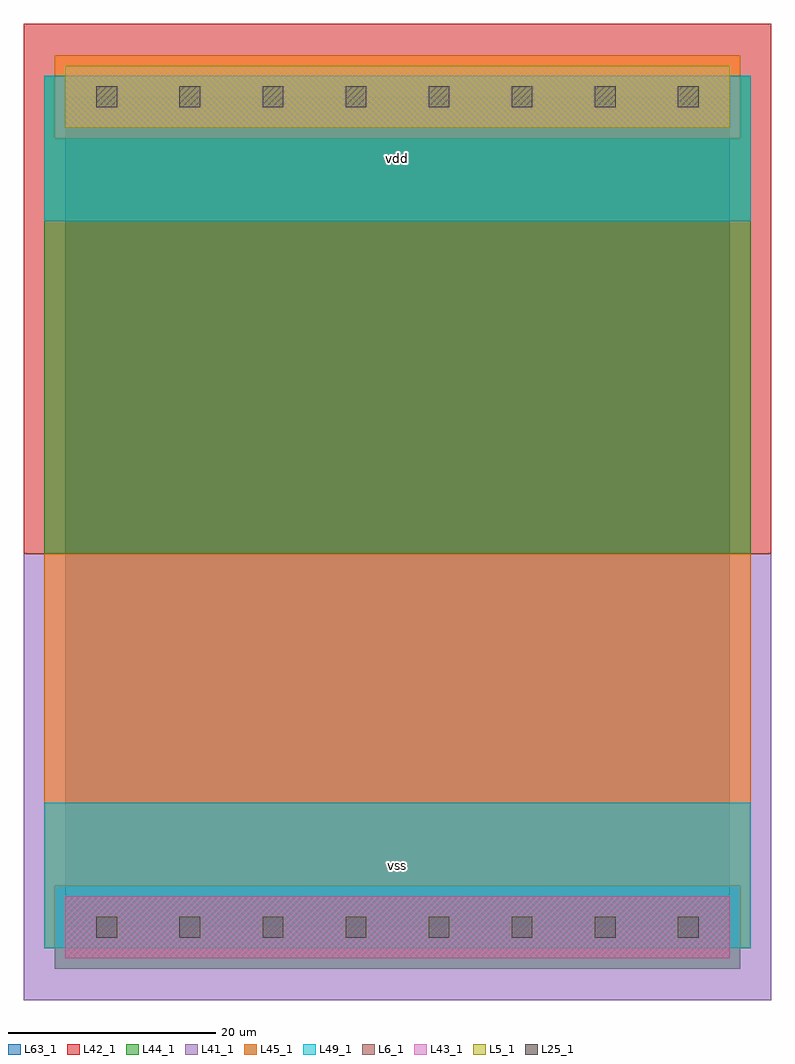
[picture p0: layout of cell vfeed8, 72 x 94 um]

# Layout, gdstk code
import gdstk
lib = gdstk.Library(unit=1e-6, precision=1e-09)
def R(c, l, rs):  # rectangles x0, y0, x1, y1
    for r in rs: c.add(gdstk.rectangle(r[:2], r[2:], *l))
def A(c, l, x, y, w, h, nx, ny, dx, dy):  # array of equal rectangles
    R(c, l, [(x+i*dx, y+j*dy, x+i*dx+w, y+j*dy+h) for i in range(nx) for j in range(ny)])
L5_1 = (5, 1)
L6_1 = (6, 1)
L25_1 = (25, 1)
L41_1 = (41, 1)
L42_1 = (42, 1)
L43_1 = (43, 1)
L44_1 = (44, 1)
L45_1 = (45, 1)
L49_1 = (49, 1)
L63_1 = (63, 1)

vfeed8 = lib.new_cell('vfeed8')
R(vfeed8, L5_1, [(0,77,64,83)])
R(vfeed8, L6_1, [(0,-3,64,3), (0,-3,64,3)])
A(vfeed8, L25_1, 3, -1, 2, 2, 8, 2, 8, 80)
R(vfeed8, L41_1, [(-4,-7,68,36)])
R(vfeed8, L42_1, [(-4,36,68,87)])
R(vfeed8, L43_1, [(0,-3,64,3), (0,77,64,83)])
R(vfeed8, L44_1, [(-1,-4,65,4), (-2,36,66,76), (-2,76,-1,82), (65,76,66,82)])
R(vfeed8, L45_1, [(-2,-2,-1,4), (65,-2,66,4), (-2,4,66,36), (-1,76,65,84)])
R(vfeed8, L49_1, [(-2,-2,66,12), (-2,68,66,82)])
R(vfeed8, L63_1, [(0,0,64,80)])
vfeed8.add(gdstk.Label('vss', (32,6), layer=49, texttype=1))
vfeed8.add(gdstk.Label('vdd', (32,74), layer=49, texttype=1))

lib.write_gds('vfeed8.gds')
